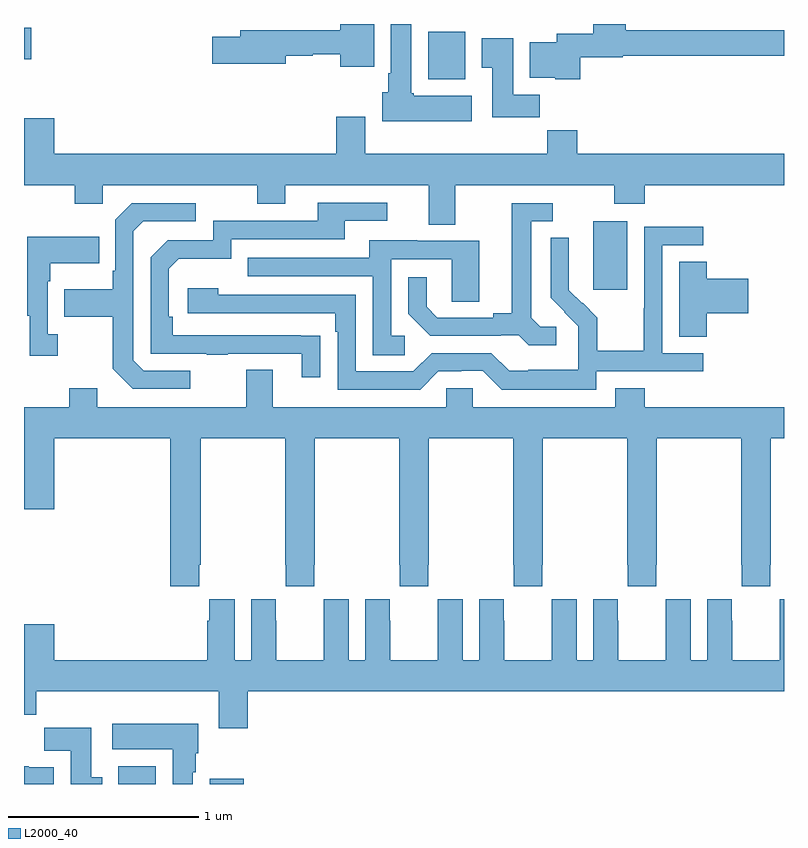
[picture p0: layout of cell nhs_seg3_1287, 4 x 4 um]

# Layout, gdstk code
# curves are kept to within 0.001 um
import gdstk
lib = gdstk.Library(unit=1e-6, precision=1e-09)
def R(c, l, rs):  # rectangles x0, y0, x1, y1
    for r in rs: c.add(gdstk.rectangle(r[:2], r[2:], *l))
def P(c, l, *ps):  # polygons
    for p in ps: c.add(gdstk.Polygon(p, *l))
L2000_40 = (2000, 40)

nhs_seg3_1287 = lib.new_cell('nhs_seg3_1287')
R(nhs_seg3_1287, L2000_40, [(177.497,728.4,177.694,728.494), (177.977,728.4,178.156,728.428), (179.996,731.001,180.175,731.362), (179.127,732.11,179.323,732.36), (177,732.214,177.037,732.379)])
P(nhs_seg3_1287, L2000_40, [(179.927,732.224),(180.15,732.224),(180.15,732.232),(181,732.232),(181,732.368),(180.167,732.368),(180.167,732.4),(179.996,732.4),(179.996,732.349),(179.804,732.349),(179.804,732.304),(179.663,732.304),(179.663,732.116),(179.796,732.116),(179.796,732.11),(179.927,732.11)],
  [(179.356,732.022),(179.052,732.022),(179.052,732.036),(179.038,732.036),(179.038,732.4),(178.931,732.4),(178.931,732.142),(178.916,732.142),(178.916,732.042),(178.886,732.042),(178.886,731.888),(179.356,731.888)],
  [(178.843,732.4),(178.664,732.4),(178.664,732.368),(178.139,732.368),(178.139,732.332),(177.99,732.332),(177.99,732.19),(178.378,732.19),(178.378,732.232),(178.521,732.232),(178.521,732.24),(178.664,732.24),(178.664,732.176),(178.843,732.176)],
  [(179.714,732.028),(179.575,732.028),(179.575,732.325),(179.408,732.325),(179.408,732.169),(179.465,732.169),(179.465,731.91),(179.714,731.91)],
  [(179.269,731.552),(180.106,731.552),(180.106,731.453),(180.266,731.453),(180.266,731.552),(181,731.552),(181,731.716),(179.912,731.716),(179.912,731.84),(179.755,731.84),(179.755,731.716),(178.795,731.716),(178.795,731.911),(178.643,731.911),(178.643,731.716),(177.16,731.716),(177.16,731.905),(177,731.905),(177,731.552),(177.268,731.552),(177.268,731.453),(177.414,731.453),(177.414,731.552),(178.228,731.552),(178.228,731.453),(178.375,731.453),(178.375,731.552),(179.129,731.552),(179.129,731.344),(179.269,731.344)],
  [(178.559,730.76),(177.782,730.761),(177.782,730.858),(177.762,730.858),(177.762,731.112),(177.815,731.165),(178.092,731.165),(178.092,731.268),(178.687,731.268),(178.687,731.364),(178.912,731.364),(178.912,731.46),(178.547,731.46),(178.547,731.364),(177.996,731.364),(177.996,731.262),(177.756,731.262),(177.666,731.172),(177.666,730.665),(177.961,730.665),(177.961,730.66),(178.073,730.66),(178.073,730.665),(178.463,730.665),(178.463,730.542),(178.559,730.542)],
  [(177.874,730.575),(177.63,730.575),(177.576,730.629),(177.576,731.31),(177.627,731.361),(177.904,731.361),(177.904,731.457),(177.567,731.457),(177.48,731.37),(177.48,731.101),(177.468,731.101),(177.468,731.005),(177.211,731.005),(177.211,730.858),(177.468,730.858),(177.468,730.585),(177.573,730.479),(177.874,730.479)],
  [(179.8,730.806),(179.718,730.806),(179.671,730.853),(179.671,731.361),(179.782,731.361),(179.782,731.457),(179.567,731.457),(179.567,730.877),(179.471,730.877),(179.471,730.854),(179.176,730.854),(179.119,730.911),(179.119,731.068),(179.022,731.068),(179.022,730.874),(179.138,730.758),(179.51,730.758),(179.51,730.761),(179.604,730.761),(179.656,730.709),(179.8,730.709)],
  [(180.012,730.572),(180.574,730.572),(180.574,730.668),(180.36,730.668),(180.36,731.235),(180.574,731.235),(180.574,731.334),(180.264,731.334),(180.264,730.904),(180.262,730.904),(180.262,730.681),(180.017,730.681),(180.017,730.855),(179.94,730.932),(179.937,730.929),(179.867,731),(179.868,731.276),(179.772,731.276),(179.772,730.958),(179.918,730.81),(179.918,730.713),(179.916,730.713),(179.916,730.579),(179.653,730.579),(179.653,730.575),(179.553,730.575),(179.46,730.668),(179.145,730.668),(179.049,730.572),(178.746,730.572),(178.746,730.974),(178.022,730.974),(178.022,731.008),(177.861,731.008),(177.861,730.878),(178.637,730.878),(178.637,730.781),(178.65,730.781),(178.65,730.476),(179.085,730.476),(179.181,730.572),(179.3,730.572),(179.3,730.575),(179.415,730.575),(179.515,730.475),(180.012,730.475)],
  [(177.178,730.766),(177.126,730.766),(177.126,731.045),(177.139,731.045),(177.139,731.141),(177.395,731.141),(177.395,731.281),(177.018,731.281),(177.018,730.865),(177.029,730.865),(177.029,730.653),(177.178,730.653)],
  [(179.005,730.758),(178.932,730.758),(178.932,731.163),(179.25,731.163),(179.25,730.939),(179.395,730.939),(179.395,731.259),(179.071,731.259),(179.071,731.263),(178.817,731.263),(178.817,731.169),(178.177,731.169),(178.177,731.073),(178.836,731.073),(178.836,730.657),(179.005,730.657)],
  [(180.593,730.877),(180.811,730.877),(180.811,731.06),(180.593,731.06),(180.593,731.15),(180.449,731.15),(180.449,730.753),(180.593,730.753)],
  [(177.923,729.553),(177.93,729.553),(177.93,730.22),(178.375,730.22),(178.375,729.553),(178.377,729.553),(178.377,729.441),(178.527,729.441),(178.527,729.553),(178.53,729.553),(178.53,730.22),(178.975,730.22),(178.975,729.553),(178.977,729.553),(178.977,729.441),(179.127,729.441),(179.127,729.553),(179.13,729.553),(179.13,730.22),(179.575,730.22),(179.575,729.553),(179.577,729.553),(179.577,729.441),(179.727,729.441),(179.727,729.553),(179.73,729.553),(179.73,730.22),(180.175,730.22),(180.175,729.553),(180.177,729.553),(180.177,729.441),(180.327,729.441),(180.327,729.553),(180.33,729.553),(180.33,730.22),(180.775,730.22),(180.775,729.553),(180.777,729.553),(180.777,729.441),(180.927,729.441),(180.927,729.553),(180.93,729.553),(180.93,730.22),(181,730.22),(181,730.384),(180.266,730.384),(180.266,730.483),(180.113,730.483),(180.113,730.384),(179.361,730.384),(179.361,730.482),(179.223,730.482),(179.223,730.384),(178.309,730.384),(178.309,730.579),(178.169,730.579),(178.169,730.384),(177.385,730.384),(177.385,730.483),(177.238,730.483),(177.238,730.384),(177,730.384),(177,729.846),(177.16,729.846),(177.16,730.22),(177.77,730.22),(177.77,729.441),(177.923,729.441)],
  [(178.796,729.373),(178.796,729.052),(178.708,729.052),(178.708,729.373),(178.578,729.373),(178.578,729.26),(178.577,729.26),(178.577,729.052),(178.327,729.052),(178.327,729.26),(178.326,729.26),(178.326,729.373),(178.196,729.373),(178.196,729.052),(178.108,729.052),(178.108,729.373),(177.974,729.373),(177.974,729.26),(177.965,729.26),(177.965,729.052),(177.16,729.052),(177.16,729.241),(177,729.241),(177,728.764),(177.065,728.764),(177.065,728.888),(178.025,728.888),(178.025,728.694),(178.178,728.694),(178.178,728.888),(181,728.888),(181,729.373),(180.978,729.373),(180.978,729.26),(180.977,729.26),(180.977,729.052),(180.727,729.052),(180.727,729.26),(180.726,729.26),(180.726,729.373),(180.596,729.373),(180.596,729.052),(180.508,729.052),(180.508,729.373),(180.378,729.373),(180.378,729.26),(180.377,729.26),(180.377,729.052),(180.127,729.052),(180.127,729.26),(180.126,729.26),(180.126,729.373),(179.996,729.373),(179.996,729.052),(179.908,729.052),(179.908,729.373),(179.778,729.373),(179.778,729.26),(179.777,729.26),(179.777,729.052),(179.527,729.052),(179.527,729.26),(179.526,729.26),(179.526,729.373),(179.396,729.373),(179.396,729.052),(179.308,729.052),(179.308,729.373),(179.178,729.373),(179.178,729.26),(179.177,729.26),(179.177,729.052),(178.927,729.052),(178.927,729.26),(178.926,729.26),(178.926,729.373)],
  [(177.889,728.462),(177.904,728.462),(177.904,728.562),(177.916,728.562),(177.916,728.716),(177.465,728.716),(177.465,728.582),(177.782,728.582),(177.782,728.4),(177.889,728.4)],
  [(177.412,728.436),(177.355,728.436),(177.355,728.695),(177.106,728.695),(177.106,728.576),(177.245,728.576),(177.245,728.4),(177.412,728.4)],
  [(177.157,728.488),(177.024,728.488),(177.024,728.494),(177,728.494),(177,728.4),(177.157,728.4)])

lib.write_gds('nhs_seg3_1287.gds')
